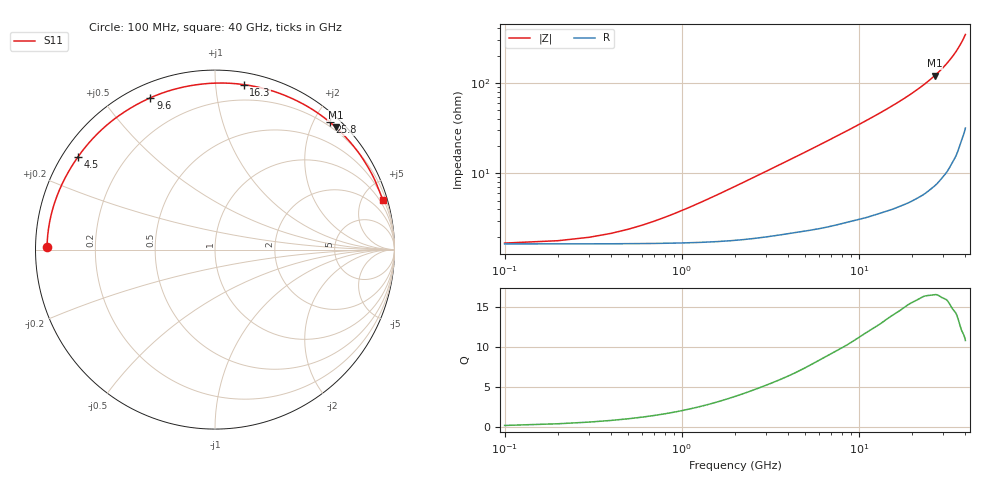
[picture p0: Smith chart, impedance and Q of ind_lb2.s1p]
#  Hz  S  RI  R  50
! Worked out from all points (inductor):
!   400 points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, 100 MHz to 40 GHz, reference 50 ohm
!   read as one part to ground: L = 550 pH near 1.6 GHz
!   highest Q = 16.5 at 26.8 GHz (marker M1), where L = 709 pH
!   S11 on the Smith chart (normalised r, x): 100 MHz: 0.03, +0.01; 4.5 GHz: 0.04, +0.31; 9.6 GHz: 0.06, +0.66; 16.3 GHz: 0.08, +1.18; 25.8 GHz: 0.14, +2.24; 40 GHz: 0.63, +6.82
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1e8  -0.9358 0.013
1.1e9  -0.9235 0.1423
2.1e9  -0.8922 0.2655
3.3e9  -0.8347 0.4
4.5e9  -0.762 0.5186
5.1e9  -0.7212 0.5722
6.2e9  -0.6398 0.6603
7.3e9  -0.5518 0.7342
8.4e9  -0.4607 0.7942
9.6e9  -0.3601 0.8457
1.01e10  -0.3181 0.8632
1.13e10  -0.218 0.8956
1.25e10  -0.1209 0.9159
1.38e10  -0.0202 0.9267
1.51e10  0.0757 0.9271
1.63e10  0.1589 0.9195
1.82e10  0.2798 0.8955
2.01e10  0.3879 0.8596
2.26e10  0.5108 0.8
2.51e10  0.6138 0.7308
2.58e10  0.6394 0.7105
2.68e10  0.6738 0.6808
2.84e10  0.7234 0.632
3.01e10  0.7693 0.5796
3.24e10  0.8223 0.5079
3.51e10  0.8718 0.4248
3.7e10  0.8994 0.3663
4e10  0.9337 0.2773
